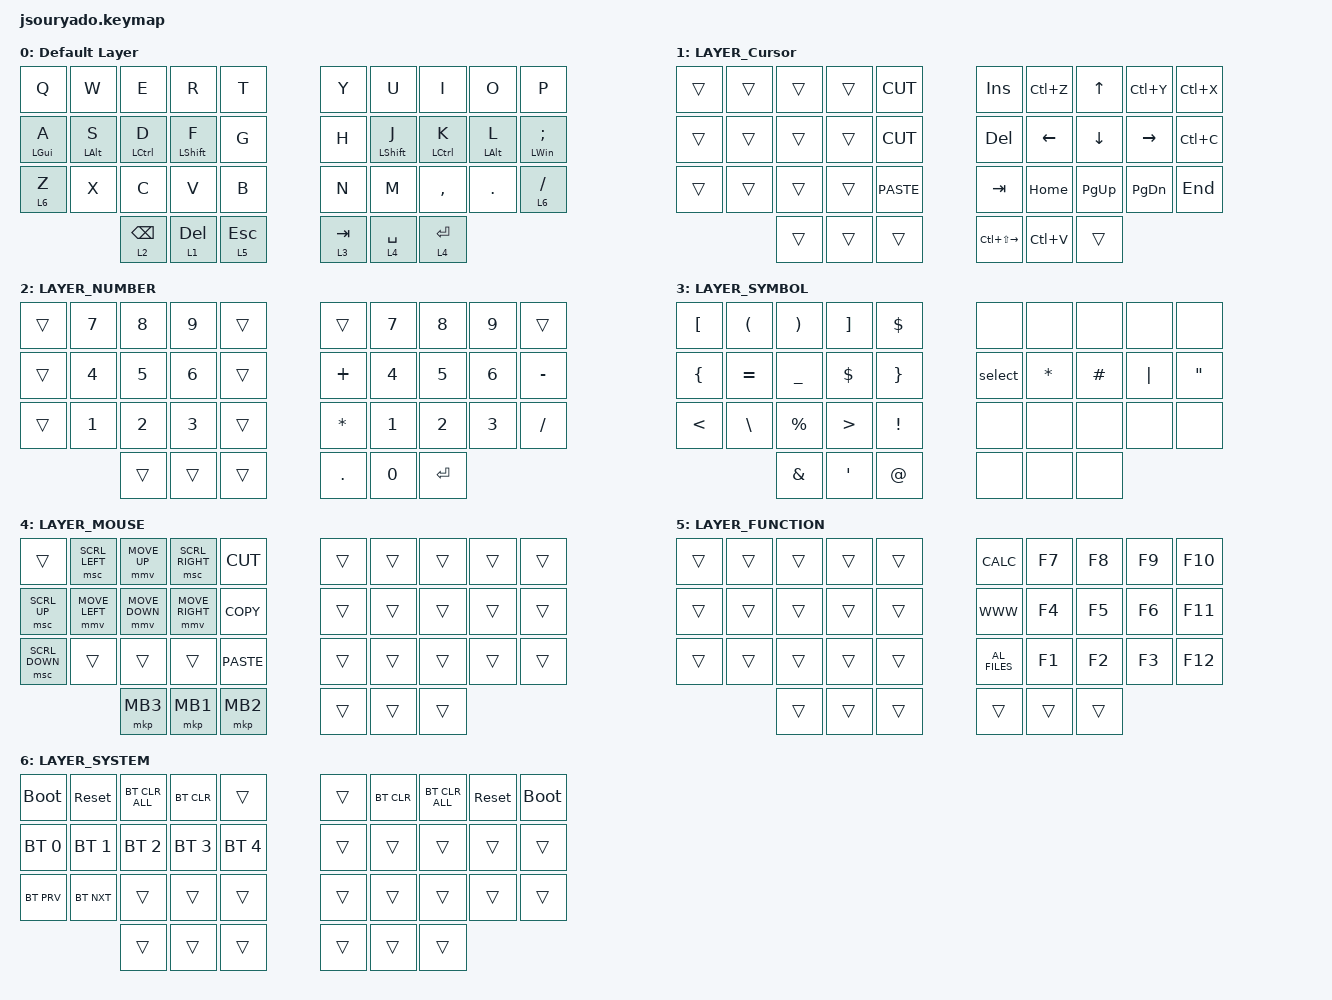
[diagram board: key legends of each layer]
/*
 * Copyright (c) 2020 The ZMK Contributors
 *
 * SPDX-License-Identifier: MIT
 */

#include <behaviors.dtsi>
#include <dt-bindings/zmk/bt.h>
#include <dt-bindings/zmk/keys.h>
#include <dt-bindings/zmk/pointing.h>

/ {
    behaviors {
        hm: hm {
            compatible = "zmk,behavior-hold-tap";
            label = "HM";
            bindings = <&kp>, <&kp>;

            #binding-cells = <2>;
            tapping-term-ms = <200>;
            flavor = "tap-preferred";
            quick-tap-ms = <0>;
            hold-trigger-key-positions = <4 14 24 1 2 3 13 12 11 21 22 23 31>;
        };
    };

    combos {
        compatible = "zmk,combos";

        cut {
            bindings = <&kp LC(X)>;
            key-positions = <31 4>;
            layers = <0>;
            timeout-ms = <50>;
        };

        copy {
            bindings = <&kp LC(C)>;
            key-positions = <14 31>;
            layers = <0>;
            timeout-ms = <50>;
        };

        paste {
            bindings = <&kp LC(V)>;
            key-positions = <24 31>;
            layers = <0>;
            timeout-ms = <50>;
        };

        undo {
            bindings = <&kp LC(Z)>;
            key-positions = <6 31>;
            layers = <1>;
            timeout-ms = <50>;
        };

        redo {
            bindings = <&kp LC(Y)>;
            key-positions = <8 31>;
            layers = <1>;
            timeout-ms = <50>;
        };

        caps {
            bindings = <&kp CAPSLOCK>;
            key-positions = <13 16>;
            layers = <0>;
            timeout-ms = <50>;
        };
    };

    macros {
        select: select {
            compatible = "zmk,behavior-macro";
            #binding-cells = <0>;
            bindings = <&none &kp LS(S) &kp LS(E) &kp LS(L) &kp LS(E) &kp LS(C) &kp LS(T) &kp SPACE &kp STAR &kp RET &kp LS(F) &kp LS(R) &kp LS(O) &kp LS(M)>;
            label = "SELECT";
        };
    };

    keymap {
        compatible = "zmk,keymap";

        LAYER_QWERTY {
            display-name = "Default Layer";

            // -----------------------------------------------------------------------------------------
            // |  Q  |  W  |  E  |  R  |  T  |   |  Y  |  U   |  I  |  O  |  P  |
            // |  A  |  S  |  D  |  F  |  G  |   |  H  |  J   |  K  |  L  |  ;  |
            // |  Z  |  X  |  C  |  V  |  B  |   |  N  |  M   |  ,  |  .  |  /  |
            //            | BSPC | LWR | ESC |   | TAB | SPC  | ENT |

            bindings = <
&kp Q           &kp W           &kp E            &kp R             &kp T        &kp Y      &kp U             &kp I        &kp O           &kp P
&hm LEFT_GUI A  &hm LEFT_ALT S  &hm LCTRL D      &hm LEFT_SHIFT F  &kp G        &kp H      &hm LEFT_SHIFT J  &hm LCTRL K  &hm LEFT_ALT L  &hm LEFT_WIN SEMICOLON
&lt 6 Z         &kp X           &kp C            &kp V             &kp B        &kp N      &kp M             &kp COMMA    &kp DOT         &lt 6 FSLH
                                &lt 2 BACKSPACE  &lt 1 DELETE      &lt 5 ESC    &lt 3 TAB  &lt 4 SPACE       &lt 4 ENTER
            >;
        };

        LAYER_Cursor {
            bindings = <
&trans  &trans  &trans  &trans  &kp K_CUT      &kp INSERT         &kp LC(Z)  &kp UP       &kp LC(Y)      &kp LC(X)
&trans  &trans  &trans  &trans  &kp K_CUT      &kp DELETE         &kp LEFT   &kp DOWN     &kp RIGHT      &kp LC(C)
&trans  &trans  &trans  &trans  &kp K_PASTE    &kp TAB            &kp HOME   &kp PAGE_UP  &kp PAGE_DOWN  &kp END
                &trans  &trans  &trans         &kp LC(LS(RIGHT))  &kp LC(V)  &trans
            >;
        };

        LAYER_NUMBER {
            bindings = <
&trans  &kp N7        &kp N8        &kp N9        &trans    &trans     &kp N7        &kp N8     &kp N9  &trans
&trans  &kp NUMBER_4  &kp N5        &kp NUMBER_6  &trans    &kp PLUS   &kp N4        &kp N5     &kp N6  &kp MINUS
&trans  &kp NUMBER_1  &kp NUMBER_2  &kp NUMBER_3  &trans    &kp ASTRK  &kp NUMBER_1  &kp N2     &kp N3  &kp FSLH
                      &trans        &trans        &trans    &kp DOT    &kp N0        &kp ENTER
            >;
        };

        LAYER_SYMBOL {
            bindings = <
&kp LBKT        &kp LEFT_PARENTHESIS  &kp RIGHT_PARENTHESIS  &kp RBKT          &kp DOLLAR         &none    &none         &none      &none     &none
&kp LEFT_BRACE  &kp EQUAL             &kp UNDER              &kp DOLLAR        &kp RIGHT_BRACE    &select  &kp ASTERISK  &kp POUND  &kp PIPE  &kp DOUBLE_QUOTES
&kp LESS_THAN   &kp BACKSLASH         &kp PERCENT            &kp GREATER_THAN  &kp EXCLAMATION    &none    &none         &none      &none     &none
                                      &kp AMPS               &kp APOSTROPHE    &kp AT             &none    &none         &none
            >;
        };

        LAYER_MOUSE {
            bindings = <
&trans          &msc SCRL_LEFT  &mmv MOVE_UP    &msc SCRL_RIGHT  &kp K_CUT      &trans  &trans  &trans  &trans  &trans
&msc SCRL_UP    &mmv MOVE_LEFT  &mmv MOVE_DOWN  &mmv MOVE_RIGHT  &kp K_COPY     &trans  &trans  &trans  &trans  &trans
&msc SCRL_DOWN  &trans          &trans          &trans           &kp K_PASTE    &trans  &trans  &trans  &trans  &trans
                                &mkp MB3        &mkp MB1         &mkp MB2       &trans  &trans  &trans
            >;
        };

        LAYER_FUNCTION {
            bindings = <
&trans  &trans  &trans  &trans  &trans    &kp K_CALC      &kp F7  &kp F8  &kp F9  &kp F10
&trans  &trans  &trans  &trans  &trans    &kp K_WWW       &kp F4  &kp F5  &kp F6  &kp F11
&trans  &trans  &trans  &trans  &trans    &kp C_AL_FILES  &kp F1  &kp F2  &kp F3  &kp F12
                &trans  &trans  &trans    &trans          &trans  &trans
            >;
        };

        LAYER_SYSTEM {
            bindings = <
&bootloader   &sys_reset    &bt BT_CLR_ALL  &bt BT_CLR    &trans          &trans  &bt BT_CLR  &bt BT_CLR_ALL  &sys_reset  &bootloader
&bt BT_SEL 0  &bt BT_SEL 1  &bt BT_SEL 2    &bt BT_SEL 3  &bt BT_SEL 4    &trans  &trans      &trans          &trans      &trans
&bt BT_PRV    &bt BT_NXT    &trans          &trans        &trans          &trans  &trans      &trans          &trans      &trans
                            &trans          &trans        &trans          &trans  &trans      &trans
            >;
        };
    };
};
